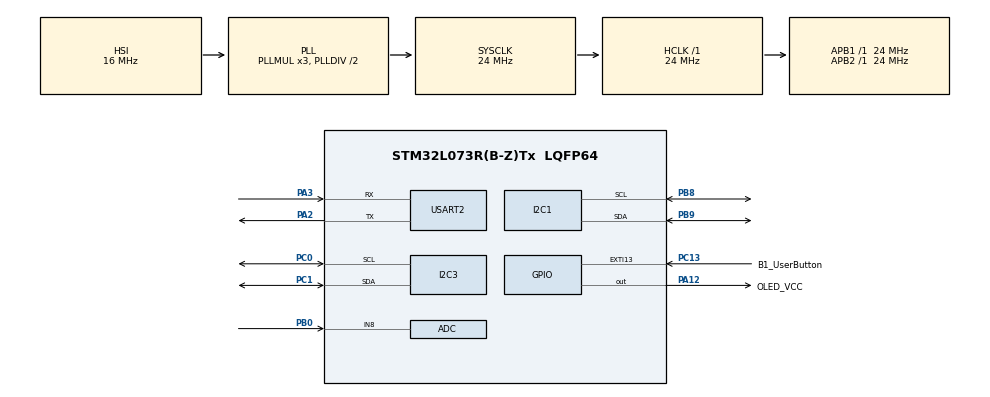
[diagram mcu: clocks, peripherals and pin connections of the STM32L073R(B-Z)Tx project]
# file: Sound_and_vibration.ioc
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ADC.ClockPrescaler=ADC_CLOCK_ASYNC_DIV1
Dma.ADC.0.Direction=DMA_PERIPH_TO_MEMORY
Dma.ADC.0.Instance=DMA1_Channel1
Dma.ADC.0.MemDataAlignment=DMA_MDATAALIGN_HALFWORD
Dma.ADC.0.MemInc=DMA_MINC_ENABLE
Dma.ADC.0.Mode=DMA_NORMAL
Dma.ADC.0.PeriphDataAlignment=DMA_PDATAALIGN_HALFWORD
Dma.ADC.0.PeriphInc=DMA_PINC_DISABLE
Dma.ADC.0.Priority=DMA_PRIORITY_LOW
Dma.Request0=ADC
I2C1.Timing=0x00506682
I2C3.Timing=0x00506682
Mcu.Family=STM32L0
Mcu.Name=STM32L073R(B-Z)Tx
Mcu.Package=LQFP64
NVIC.ADC1_COMP_IRQn=true\:0\:0\:false\:false\:true\:true\:true\:true
NVIC.DMA1_Channel1_IRQn=true\:0\:0\:false\:false\:true\:false\:true\:true
NVIC.EXTI4_15_IRQn=true\:0\:0\:false\:false\:true\:true\:true\:true
NVIC.TIM6_DAC_IRQn=true\:0\:0\:false\:false\:true\:true\:true\:true
NVIC.TIM7_IRQn=true\:0\:0\:false\:false\:true\:true\:true\:true
NVIC.USART2_IRQn=true\:0\:0\:false\:false\:true\:true\:true\:true
PA12.GPIO_Label=OLED_VCC
PA12.Signal=GPIO_Output
PA13.Mode=Serial_Wire
PA13.Signal=SYS_SWDIO
PA14.Mode=Serial_Wire
PA14.Signal=SYS_SWCLK
PA2.Mode=Asynchronous
PA2.Signal=USART2_TX
PA3.Mode=Asynchronous
PA3.Signal=USART2_RX
PB0.Mode=IN8
PB0.Signal=ADC_IN8
PB8.Mode=I2C
PB8.Signal=I2C1_SCL
PB9.Mode=I2C
PB9.Signal=I2C1_SDA
PC0.Mode=I2C
PC0.Signal=I2C3_SCL
PC1.Mode=I2C
PC1.Signal=I2C3_SDA
PC13.GPIO_Label=B1_UserButton
PC13.GPIO_ModeDefaultEXTI=GPIO_MODE_IT_FALLING
PC13.Signal=GPXTI13
PC14-OSC32_IN.Mode=LSE-External-Oscillator
PC14-OSC32_IN.Signal=RCC_OSC32_IN
PC15-OSC32_OUT.Mode=LSE-External-Oscillator
PC15-OSC32_OUT.Signal=RCC_OSC32_OUT
PH0-OSC_IN.Mode=HSE-External-Oscillator
PH0-OSC_IN.Signal=RCC_OSC_IN
PH1-OSC_OUT.Mode=HSE-External-Oscillator
PH1-OSC_OUT.Signal=RCC_OSC_OUT
ProjectManager.HeapSize=0x200
ProjectManager.StackSize=0x400
ProjectManager.TargetToolchain=MDK-ARM V5.32
RCC.AHBFreq_Value=24000000
RCC.APB1Freq_Value=24000000
RCC.APB1TimFreq_Value=24000000
RCC.APB2Freq_Value=24000000
RCC.APB2TimFreq_Value=24000000
RCC.HCLKFreq_Value=24000000
RCC.HSE_VALUE=8000000
RCC.HSI16_VALUE=16000000
RCC.HSI48_VALUE=48000000
RCC.HSI_VALUE=16000000
RCC.MSI_VALUE=2097000
RCC.SYSCLKFreq_VALUE=24000000
RCC.SYSCLKSource=RCC_SYSCLKSOURCE_PLLCLK
RCC.VCOOutputFreq_Value=48000000
TIM6.AutoReloadPreload=TIM_AUTORELOAD_PRELOAD_ENABLE
TIM6.Period=1
TIM6.Prescaler=2400
TIM7.Period=25
TIM7.Prescaler=1200
USART2.VirtualMode-Asynchronous=VM_ASYNC
VP_TIM6_VS_ClockSourceINT.Mode=Enable_Timer
VP_TIM7_VS_ClockSourceINT.Mode=Enable_Timer
board=NUCLEO-L073RZ

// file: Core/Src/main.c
/* USER CODE BEGIN Header */
/**
  ******************************************************************************
  * @file           : main.c
  * @brief          : Main program body
  ******************************************************************************
  * @attention
  *
  * Copyright (c) 2024 STMicroelectronics.
  * All rights reserved.
  *
  * This software is licensed under terms that can be found in the LICENSE file
  * in the root directory of this software component.
  * If no LICENSE file comes with this software, it is provided AS-IS.
  *
  ******************************************************************************
  */
/* USER CODE END Header */
#include "main.h"

/* USER CODE BEGIN Includes */
#include "sc_types.h"
#include "Statechart.h"
#include "Statechart_required.h"
#include "math.h"
#include "TJ_MPU6050.h"
#include "ssd1306.h"
#include "fonts.h"
#include <stdio.h>  // funkcijai sprintf
/* USER CODE END Includes */

ADC_HandleTypeDef hadc;
DMA_HandleTypeDef hdma_adc;

I2C_HandleTypeDef hi2c1;
I2C_HandleTypeDef hi2c3;

TIM_HandleTypeDef htim6;
TIM_HandleTypeDef htim7;

UART_HandleTypeDef huart2;

void SystemClock_Config(void);
static void MX_GPIO_Init(void);
static void MX_DMA_Init(void);
static void MX_ADC_Init(void);
static void MX_USART2_UART_Init(void);
static void MX_I2C1_Init(void);
static void MX_I2C3_Init(void);
static void MX_TIM6_Init(void);
static void MX_TIM7_Init(void);

/* USER CODE BEGIN 0 */
Statechart sc_handle; // Statechart pointer

// ---------------- ADC VARIABLES -----------------
#define NUM_ADC_CHANNELS 1
#define ADC_CONVERTED_DATA_BUFFER_SIZE   ((uint32_t) 32)
#define BUFFERLEN_ADC 500
#define RMS_BUFFERLEN_ADC 10
#define DISPLAY_BUFFERLEN_ADC 2

static uint16_t   aADCxConvertedData[ADC_CONVERTED_DATA_BUFFER_SIZE];
uint16_t SOUND_SAMPLE[NUM_ADC_CHANNELS];
uint16_t DataBufferADC[BUFFERLEN_ADC][NUM_ADC_CHANNELS];
float SOUND_V[BUFFERLEN_ADC][NUM_ADC_CHANNELS];
float tarpinis_RMS[NUM_ADC_CHANNELS];
float save_tarpinis_RMS[RMS_BUFFERLEN_ADC][NUM_ADC_CHANNELS];
float vidutinis_RMS_PC[NUM_ADC_CHANNELS];
float save_vidutinis_RMS_PC[DISPLAY_BUFFERLEN_ADC][NUM_ADC_CHANNELS];
float vidutinis_RMS_DISP[NUM_ADC_CHANNELS];

// ---------------- I2C VARIABLES -----------------
#define axis_no 3
#define BUFFERLEN_I2C 80
#define DISPLAY_BUFFERLEN_I2C 30

uint8_t Usart_I2CDATA_TxBuffer[20];
int16_t ACC_SAMPLE[axis_no];
int16_t DataBufferI2C[BUFFERLEN_I2C][axis_no];
float VIBRATION[BUFFERLEN_I2C][axis_no];
float tarpinis_VIBRATION_RMS[axis_no];
float save_tarpinis_VIBRATION_RMS[DISPLAY_BUFFERLEN_I2C][axis_no];
float VIBRATION_RMS_DISP[axis_no];

RawData_Def myAccelRaw;

// ---------------- UART VARIABLES -----------------
uint8_t UART_TxBuffer_ADC[40];
uint8_t UART_TxBuffer_I2C[60];
typedef enum {UART_READY, UART_BUSY} UART_Status;
UART_Status Status_uart=UART_READY;

/* for handling I2C errors */
void MyErrorHandlerI2C()
{
}
/* for handling ADC errors */
void MyErrorHandlerADC()
{
}

void HAL_USART_TxCpltCallbck(UART_HandleTypeDef *huart2)
{
	if(Status_uart==UART_BUSY)
		Status_uart=UART_READY;
}

void HandleUsartError()
{
	uint32_t usart_error;
	usart_error = HAL_UART_GetError(&huart2);
}

typedef enum {STATUS_READY, STATUS_WAIT} TStatus;
TStatus Status=STATUS_WAIT;
void HAL_GPIO_EXTI_Callback(uint16_t GPIO_Pin)
{
	UNUSED(GPIO_Pin);
	if (GPIO_Pin==B1_UserButton_Pin)
	{
		if (Status==STATUS_WAIT){
			Status=STATUS_READY;
			statechart_raise_buttonPush(&sc_handle);
		}
		else{
			Status=STATUS_WAIT;
			statechart_raise_buttonPush(&sc_handle);
		}

	}
}

void HAL_TIM_PeriodElapsedCallback(TIM_HandleTypeDef *htim)
{
  if (Status == STATUS_WAIT && htim==&htim6)
	{
		statechart_raise_ev_GetSample(&sc_handle);
	}
	else if (Status == STATUS_READY && htim==&htim7)
	{
		statechart_raise_ev_GetSample_i2c(&sc_handle);
	}
}

// ----------------------------------- ADC --------------------------------------

void HAL_ADC_ConvCpltCallback(ADC_HandleTypeDef *hadc)
{
	statechart_raise_ev_ADCSampleReady(&sc_handle);
}

void statechart_startConvADC( Statechart* handle)
{
	if (HAL_ADC_Start_DMA(&hadc,(uint32_t *)aADCxConvertedData, NUM_ADC_CHANNELS) != HAL_OK)
		{
			MyErrorHandlerADC();
		}
}
void statechart_readADCSample( Statechart* handle)
{
	SOUND_SAMPLE[0] = aADCxConvertedData[0];
}

sc_integer statechart_saveADCSample( Statechart* handle, const sc_integer sample_no)
{
	for (int i=0;i<NUM_ADC_CHANNELS;i++)
		DataBufferADC[sample_no][i]=SOUND_SAMPLE[i];
	return 1;
}

void statechart_tarpinis_RMS( Statechart* handle)
{
	float sum[NUM_ADC_CHANNELS];

	for (int i=0; i<BUFFERLEN_ADC; i++)
		for (int j=0; j<NUM_ADC_CHANNELS; j++)
			SOUND_V[i][j] = DataBufferADC[i][j]*3.3/4096;

	for (int i=0; i<NUM_ADC_CHANNELS; i++){
		sum[i]=0;
		for (int j=0; j<BUFFERLEN_ADC; j++){
			sum[i] += SOUND_V[j][i]*SOUND_V[j][i];
		}
		tarpinis_RMS[i] = sqrt(sum[i]/BUFFERLEN_ADC);
	}
}

sc_integer statechart_save_tarpinis_RMS( Statechart* handle, const sc_integer sample1_no)
{

	for (int i = 0; i < NUM_ADC_CHANNELS; i++)
		save_tarpinis_RMS[sample1_no][i] = tarpinis_RMS[i];
	return 1;
}

void statechart_processDataADC( Statechart* handle)
{
	float sum[NUM_ADC_CHANNELS];
	for (int i = 0; i < NUM_ADC_CHANNELS; i++) {
		sum[i] = 0;
		for (int j = 0; j < RMS_BUFFERLEN_ADC; j++) {
				sum[i] += save_tarpinis_RMS[j][i];
		}
		vidutinis_RMS_PC[i] = sum[i] / RMS_BUFFERLEN_ADC;
  }
}

void statechart_usartTransmit_ADC( Statechart* handle)
{
	if(Status_uart==UART_READY)
	{
		sprintf((char *)UART_TxBuffer_ADC, "Garso lygio patalpoje RMS: %4.3f V\n", vidutinis_RMS_PC[0]);
		if (HAL_UART_Transmit_IT(&huart2, UART_TxBuffer_ADC, strlen(UART_TxBuffer_ADC))!=HAL_OK)
		{
		HandleUsartError();
		}
	else
	Status_uart=UART_BUSY;

	Status_uart=UART_READY;
	}
}

sc_integer statechart_save_UsartTransmit_ADC( Statechart* handle, const sc_integer N_ADC)
{
	for (int i = 0; i < NUM_ADC_CHANNELS; i++)
		save_vidutinis_RMS_PC[N_ADC][i] = vidutinis_RMS_PC[i];
	return 1;
}

void statechart_displayInfo_ADC( Statechart* handle)
{
	for (int i = 0; i < NUM_ADC_CHANNELS; i++) {
        float sum = 0;
        for (int j = 0; j < DISPLAY_BUFFERLEN_ADC; j++) {
            sum += save_vidutinis_RMS_PC[j][i];
        }
        vidutinis_RMS_DISP[i] = sum / DISPLAY_BUFFERLEN_ADC;
  }
	//atvaizdavimas:
	static char string_display[30];
	ssd1306_Fill(Black); // visas ekranas uzpildomas juodai, kad pries tai buves tekstas pasinaikintu
	ssd1306_SetCursor(0, 0);
	ssd1306_WriteString(" Garsas RMS ",Font_11x18, White);
	ssd1306_SetCursor(0, 22);
	sprintf(string_display,"  %.3f V   ", vidutinis_RMS_DISP[0]);
	ssd1306_WriteString(string_display, Font_11x18, White);
  ssd1306_UpdateScreen(&hi2c3); // atnaujinamas ekranas su naujuoju tekstu

}

// ----------------------------------- I2C --------------------------------------

void statechart_readI2CSensor( Statechart* handle)
{
	MPU6050_Get_Accel_RawData(&myAccelRaw);
	ACC_SAMPLE[0] = myAccelRaw.x;
	ACC_SAMPLE[1] = myAccelRaw.y;
	ACC_SAMPLE[2] = myAccelRaw.z;
}
sc_integer statechart_saveI2CSample( Statechart* handle, const sc_integer sample_i2c)
{
	for(int i=0; i<axis_no; i++)
	{
		DataBufferI2C[sample_i2c][i] = ACC_SAMPLE[i];
	}
	return 1;
}
void statechart_processDataI2C( Statechart* handle)
{
	float sum[axis_no];

	for (int i=0; i<BUFFERLEN_I2C; i++)
		for (int j=0; j<axis_no; j++)
			VIBRATION[i][j] = (DataBufferI2C[i][j]+0.0f)/(8192.0f);

	for (int i=0; i<axis_no; i++){
		sum[i]=0;
		for (int j=0; j<BUFFERLEN_I2C; j++){
			sum[i] += VIBRATION[j][i]*VIBRATION[j][i];
		}
		tarpinis_VIBRATION_RMS[i] = sqrt(sum[i]/BUFFERLEN_I2C);
	}
}
void statechart_usartTransmit_I2C( Statechart* handle)
{
	if(Status_uart==UART_READY)
	{
		sprintf((char *)UART_TxBuffer_I2C, "Vibraciju lygio RMS: x: %.3f g, y: %.3f g, z: %.3f g \n", tarpinis_VIBRATION_RMS[0], tarpinis_VIBRATION_RMS[1], tarpinis_VIBRATION_RMS[2]);
		if (HAL_UART_Transmit_IT(&huart2, UART_TxBuffer_I2C, strlen(UART_TxBuffer_I2C))!=HAL_OK)
		{
		HandleUsartError();
		}
	else
	Status_uart=UART_BUSY;

	Status_uart=UART_READY;
	}
}
sc_integer statechart_save_UsartTransmit_I2C( Statechart* handle, const sc_integer N_I2C)
{
	for (int i = 0; i < axis_no; i++)
		save_tarpinis_VIBRATION_RMS[N_I2C][i] = tarpinis_VIBRATION_RMS[i];
	return 1;
}
void statechart_displayInfo_I2C( Statechart* handle)
{
	float sum[axis_no];
		for (int i = 0; i < axis_no; i++) {
		sum[i]=0;
		for (int j = 0; j < DISPLAY_BUFFERLEN_I2C; j++) {
			sum[i] += save_tarpinis_VIBRATION_RMS[j][i];
		}
		VIBRATION_RMS_DISP[i] = sum[i] / DISPLAY_BUFFERLEN_I2C;
  }

	//atvaizdavimas:
	static char string_display[30];
	ssd1306_Fill(Black); // visas ekranas uzpildomas juodai, kad pries tai buves tekstas pasinaikintu
	ssd1306_SetCursor(0, 0);
	sprintf(string_display,"x=%.3f g    ",VIBRATION_RMS_DISP[0]);
	ssd1306_WriteString(string_display,Font_11x18, White);
	ssd1306_SetCursor(0, 22);
	sprintf(string_display,"y=%.3f g    ",VIBRATION_RMS_DISP[1]);
	ssd1306_WriteString(string_display,Font_11x18, White);
  ssd1306_SetCursor(0, 44);
  sprintf(string_display,"z=%.3f g    ",VIBRATION_RMS_DISP[2]);
  ssd1306_WriteString(string_display,Font_11x18, White);
  ssd1306_UpdateScreen(&hi2c3); // atnaujinamas ekranas su naujuoju tekstu
}

/* USER CODE END 0 */

int main(void)
{
  /* USER CODE BEGIN 1 */
	MPU_ConfigTypeDef myMpuConfig;
  /* USER CODE END 1 */

  /* MCU Configuration--------------------------------------------------------*/

  /* Reset of all peripherals, Initializes the Flash interface and the Systick. */
  HAL_Init();

  /* Configure the system clock */
  SystemClock_Config();

  /* Initialize all configured peripherals */
  MX_GPIO_Init();
  MX_DMA_Init();
  MX_ADC_Init();
  MX_USART2_UART_Init();
  MX_I2C1_Init();
  MX_I2C3_Init();
  MX_TIM6_Init();
  MX_TIM7_Init();
  /* USER CODE BEGIN 2 */

	//MPU6050 accelerometer:
	MPU6050_Init(&hi2c1);
	myMpuConfig.Accel_Full_Scale = AFS_SEL_4g;
	myMpuConfig.ClockSource = Internal_8MHz;
	myMpuConfig.CONFIG_DLPF = DLPF_184A_188G_Hz;
	myMpuConfig.Gyro_Full_Scale = FS_SEL_500;
	myMpuConfig.Sleep_Mode_Bit = 0;
	MPU6050_Config(&myMpuConfig);

	//OLED:
	HAL_GPIO_WritePin(OLED_VCC_GPIO_Port,OLED_VCC_Pin,GPIO_PIN_SET);	 // apply Vcc to OLED display
  ssd1306_Init(&hi2c3);
	ssd1306_SetCursor(0,0);
  ssd1306_WriteString("Starting...",Font_11x18, White);
  ssd1306_SetCursor(0, 12);
  ssd1306_UpdateScreen(&hi2c3);

	if(HAL_TIM_Base_Start_IT(&htim6) != HAL_OK) //run TIM6 timer
	{
	//ErrorHandler();
	 }
	if(HAL_TIM_Base_Start_IT(&htim7) != HAL_OK) //run TIM7 timer
	{
	//ErrorHandler();
	}

	statechart_init(&sc_handle);
	statechart_enter(&sc_handle);
  /* USER CODE END 2 */

  /* Infinite loop */
  while (1)
  {

    /* USER CODE BEGIN 3 */
  }
	statechart_exit(&sc_handle);
  /* USER CODE END 3 */
}

void SystemClock_Config(void)
{
  RCC_OscInitTypeDef RCC_OscInitStruct = {0};
  RCC_ClkInitTypeDef RCC_ClkInitStruct = {0};
  RCC_PeriphCLKInitTypeDef PeriphClkInit = {0};

  /** Configure the main internal regulator output voltage
  */
  __HAL_PWR_VOLTAGESCALING_CONFIG(PWR_REGULATOR_VOLTAGE_SCALE1);

  /** Initializes the RCC Oscillators according to the specified parameters
  * in the RCC_OscInitTypeDef structure.
  */
  RCC_OscInitStruct.OscillatorType = RCC_OSCILLATORTYPE_HSI;
  RCC_OscInitStruct.HSIState = RCC_HSI_ON;
  RCC_OscInitStruct.HSICalibrationValue = RCC_HSICALIBRATION_DEFAULT;
  RCC_OscInitStruct.PLL.PLLState = RCC_PLL_ON;
  RCC_OscInitStruct.PLL.PLLSource = RCC_PLLSOURCE_HSI;
  RCC_OscInitStruct.PLL.PLLMUL = RCC_PLLMUL_3;
  RCC_OscInitStruct.PLL.PLLDIV = RCC_PLLDIV_2;
  if (HAL_RCC_OscConfig(&RCC_OscInitStruct) != HAL_OK)
  {
    Error_Handler();
  }

  /** Initializes the CPU, AHB and APB buses clocks
  */
  RCC_ClkInitStruct.ClockType = RCC_CLOCKTYPE_HCLK|RCC_CLOCKTYPE_SYSCLK
                              |RCC_CLOCKTYPE_PCLK1|RCC_CLOCKTYPE_PCLK2;
  RCC_ClkInitStruct.SYSCLKSource = RCC_SYSCLKSOURCE_PLLCLK;
  RCC_ClkInitStruct.AHBCLKDivider = RCC_SYSCLK_DIV1;
  RCC_ClkInitStruct.APB1CLKDivider = RCC_HCLK_DIV1;
  RCC_ClkInitStruct.APB2CLKDivider = RCC_HCLK_DIV1;

  if (HAL_RCC_ClockConfig(&RCC_ClkInitStruct, FLASH_LATENCY_1) != HAL_OK)
  {
    Error_Handler();
  }
  PeriphClkInit.PeriphClockSelection = RCC_PERIPHCLK_USART2|RCC_PERIPHCLK_I2C1
                              |RCC_PERIPHCLK_I2C3;
  PeriphClkInit.Usart2ClockSelection = RCC_USART2CLKSOURCE_PCLK1;
  PeriphClkInit.I2c1ClockSelection = RCC_I2C1CLKSOURCE_PCLK1;
  PeriphClkInit.I2c3ClockSelection = RCC_I2C3CLKSOURCE_PCLK1;
  if (HAL_RCCEx_PeriphCLKConfig(&PeriphClkInit) != HAL_OK)
  {
    Error_Handler();
  }
}

static void MX_ADC_Init(void)
{

  ADC_ChannelConfTypeDef sConfig = {0};

  /** Configure the global features of the ADC (Clock, Resolution, Data Alignment and number of conversion)
  */
  hadc.Instance = ADC1;
  hadc.Init.OversamplingMode = DISABLE;
  hadc.Init.ClockPrescaler = ADC_CLOCK_ASYNC_DIV1;
  hadc.Init.Resolution = ADC_RESOLUTION_12B;
  hadc.Init.SamplingTime = ADC_SAMPLETIME_1CYCLE_5;
  hadc.Init.ScanConvMode = ADC_SCAN_DIRECTION_FORWARD;
  hadc.Init.DataAlign = ADC_DATAALIGN_RIGHT;
  hadc.Init.ContinuousConvMode = DISABLE;
  hadc.Init.DiscontinuousConvMode = DISABLE;
  hadc.Init.ExternalTrigConvEdge = ADC_EXTERNALTRIGCONVEDGE_NONE;
  hadc.Init.ExternalTrigConv = ADC_SOFTWARE_START;
  hadc.Init.DMAContinuousRequests = DISABLE;
  hadc.Init.EOCSelection = ADC_EOC_SINGLE_CONV;
  hadc.Init.Overrun = ADC_OVR_DATA_PRESERVED;
  hadc.Init.LowPowerAutoWait = DISABLE;
  hadc.Init.LowPowerFrequencyMode = DISABLE;
  hadc.Init.LowPowerAutoPowerOff = DISABLE;
  if (HAL_ADC_Init(&hadc) != HAL_OK)
  {
    Error_Handler();
  }

  /** Configure for the selected ADC regular channel to be converted.
  */
  sConfig.Channel = ADC_CHANNEL_8;
  sConfig.Rank = ADC_RANK_CHANNEL_NUMBER;
  if (HAL_ADC_ConfigChannel(&hadc, &sConfig) != HAL_OK)
  {
    Error_Handler();
  }

}

static void MX_I2C1_Init(void)
{

  hi2c1.Instance = I2C1;
  hi2c1.Init.Timing = 0x00506682;
  hi2c1.Init.OwnAddress1 = 0;
  hi2c1.Init.AddressingMode = I2C_ADDRESSINGMODE_7BIT;
  hi2c1.Init.DualAddressMode = I2C_DUALADDRESS_DISABLE;
  hi2c1.Init.OwnAddress2 = 0;
  hi2c1.Init.OwnAddress2Masks = I2C_OA2_NOMASK;
  hi2c1.Init.GeneralCallMode = I2C_GENERALCALL_DISABLE;
  hi2c1.Init.NoStretchMode = I2C_NOSTRETCH_DISABLE;
  if (HAL_I2C_Init(&hi2c1) != HAL_OK)
  {
    Error_Handler();
  }

  /** Configure Analogue filter
  */
  if (HAL_I2CEx_ConfigAnalogFilter(&hi2c1, I2C_ANALOGFILTER_ENABLE) != HAL_OK)
  {
    Error_Handler();
  }

  /** Configure Digital filter
  */
  if (HAL_I2CEx_ConfigDigitalFilter(&hi2c1, 0) != HAL_OK)
  {
    Error_Handler();
  }

}

static void MX_I2C3_Init(void)
{

  hi2c3.Instance = I2C3;
  hi2c3.Init.Timing = 0x00506682;
  hi2c3.Init.OwnAddress1 = 0;
  hi2c3.Init.AddressingMode = I2C_ADDRESSINGMODE_7BIT;
  hi2c3.Init.DualAddressMode = I2C_DUALADDRESS_DISABLE;
  hi2c3.Init.OwnAddress2 = 0;
  hi2c3.Init.OwnAddress2Masks = I2C_OA2_NOMASK;
  hi2c3.Init.GeneralCallMode = I2C_GENERALCALL_DISABLE;
  hi2c3.Init.NoStretchMode = I2C_NOSTRETCH_DISABLE;
  if (HAL_I2C_Init(&hi2c3) != HAL_OK)
  {
    Error_Handler();
  }

  /** Configure Analogue filter
  */
  if (HAL_I2CEx_ConfigAnalogFilter(&hi2c3, I2C_ANALOGFILTER_ENABLE) != HAL_OK)
  {
    Error_Handler();
  }

  /** Configure Digital filter
  */
  if (HAL_I2CEx_ConfigDigitalFilter(&hi2c3, 0) != HAL_OK)
  {
    Error_Handler();
  }

}

static void MX_TIM6_Init(void)
{

  TIM_MasterConfigTypeDef sMasterConfig = {0};

  htim6.Instance = TIM6;
  htim6.Init.Prescaler = 2400;
  htim6.Init.CounterMode = TIM_COUNTERMODE_UP;
  htim6.Init.Period = 1;
  htim6.Init.AutoReloadPreload = TIM_AUTORELOAD_PRELOAD_ENABLE;
  if (HAL_TIM_Base_Init(&htim6) != HAL_OK)
  {
    Error_Handler();
  }
  sMasterConfig.MasterOutputTrigger = TIM_TRGO_RESET;
  sMasterConfig.MasterSlaveMode = TIM_MASTERSLAVEMODE_DISABLE;
  if (HAL_TIMEx_MasterConfigSynchronization(&htim6, &sMasterConfig) != HAL_OK)
  {
    Error_Handler();
  }

}

static void MX_TIM7_Init(void)
{

  TIM_MasterConfigTypeDef sMasterConfig = {0};

  htim7.Instance = TIM7;
  htim7.Init.Prescaler = 1200;
  htim7.Init.CounterMode = TIM_COUNTERMODE_UP;
  htim7.Init.Period = 25;
  htim7.Init.AutoReloadPreload = TIM_AUTORELOAD_PRELOAD_DISABLE;
  if (HAL_TIM_Base_Init(&htim7) != HAL_OK)
  {
    Error_Handler();
  }
  sMasterConfig.MasterOutputTrigger = TIM_TRGO_RESET;
  sMasterConfig.MasterSlaveMode = TIM_MASTERSLAVEMODE_DISABLE;
  if (HAL_TIMEx_MasterConfigSynchronization(&htim7, &sMasterConfig) != HAL_OK)
  {
    Error_Handler();
  }

}

static void MX_USART2_UART_Init(void)
{

  huart2.Instance = USART2;
  huart2.Init.BaudRate = 115200;
  huart2.Init.WordLength = UART_WORDLENGTH_8B;
  huart2.Init.StopBits = UART_STOPBITS_1;
  huart2.Init.Parity = UART_PARITY_NONE;
  huart2.Init.Mode = UART_MODE_TX_RX;
  huart2.Init.HwFlowCtl = UART_HWCONTROL_NONE;
  huart2.Init.OverSampling = UART_OVERSAMPLING_16;
  huart2.Init.OneBitSampling = UART_ONE_BIT_SAMPLE_DISABLE;
  huart2.AdvancedInit.AdvFeatureInit = UART_ADVFEATURE_NO_INIT;
  if (HAL_UART_Init(&huart2) != HAL_OK)
  {
    Error_Handler();
  }

}

static void MX_DMA_Init(void)
{

  /* DMA controller clock enable */
  __HAL_RCC_DMA1_CLK_ENABLE();

  /* DMA interrupt init */
  /* DMA1_Channel1_IRQn interrupt configuration */
  HAL_NVIC_SetPriority(DMA1_Channel1_IRQn, 0, 0);
  HAL_NVIC_EnableIRQ(DMA1_Channel1_IRQn);

}

static void MX_GPIO_Init(void)
{
  GPIO_InitTypeDef GPIO_InitStruct = {0};

  /* GPIO Ports Clock Enable */
  __HAL_RCC_GPIOC_CLK_ENABLE();
  __HAL_RCC_GPIOH_CLK_ENABLE();
  __HAL_RCC_GPIOA_CLK_ENABLE();
  __HAL_RCC_GPIOB_CLK_ENABLE();

  /*Configure GPIO pin Output Level */
  HAL_GPIO_WritePin(OLED_VCC_GPIO_Port, OLED_VCC_Pin, GPIO_PIN_RESET);

  /*Configure GPIO pin : B1_UserButton_Pin */
  GPIO_InitStruct.Pin = B1_UserButton_Pin;
  GPIO_InitStruct.Mode = GPIO_MODE_IT_FALLING;
  GPIO_InitStruct.Pull = GPIO_NOPULL;
  HAL_GPIO_Init(B1_UserButton_GPIO_Port, &GPIO_InitStruct);

  /*Configure GPIO pin : OLED_VCC_Pin */
  GPIO_InitStruct.Pin = OLED_VCC_Pin;
  GPIO_InitStruct.Mode = GPIO_MODE_OUTPUT_PP;
  GPIO_InitStruct.Pull = GPIO_NOPULL;
  GPIO_InitStruct.Speed = GPIO_SPEED_FREQ_LOW;
  HAL_GPIO_Init(OLED_VCC_GPIO_Port, &GPIO_InitStruct);

  /* EXTI interrupt init*/
  HAL_NVIC_SetPriority(EXTI4_15_IRQn, 0, 0);
  HAL_NVIC_EnableIRQ(EXTI4_15_IRQn);

}

void Error_Handler(void)
{
  __disable_irq();
  while (1)
  {
  }
}
